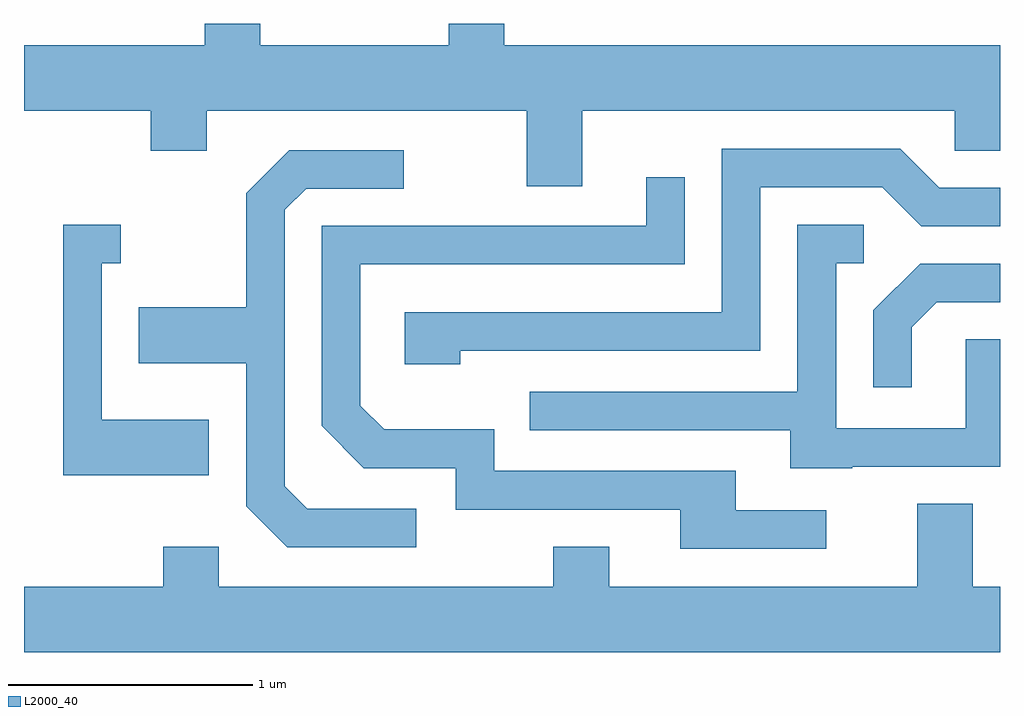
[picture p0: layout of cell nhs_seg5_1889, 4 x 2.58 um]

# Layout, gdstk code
import gdstk
lib = gdstk.Library(unit=1e-6, precision=1e-09)
def P(c, l, *ps):  # polygons
    for p in ps: c.add(gdstk.Polygon(p, *l))
L2000_40 = (2000, 40)

nhs_seg5_1889 = lib.new_cell('nhs_seg5_1889')
P(nhs_seg5_1889, L2000_40, [(243.899,1425.716),(245.426,1425.716),(245.426,1425.551),(245.611,1425.551),(245.611,1425.984),(243.579,1425.984),(243.579,1426.072),(243.351,1426.072),(243.351,1425.984),(242.579,1425.984),(242.579,1426.072),(242.351,1426.072),(242.351,1425.984),(241.611,1425.984),(241.611,1425.716),(242.131,1425.716),(242.131,1425.551),(242.359,1425.551),(242.359,1425.716),(243.671,1425.716),(243.671,1425.406),(243.899,1425.406)],
  [(243.399,1424.731),(244.629,1424.731),(244.629,1425.401),(245.129,1425.401),(245.289,1425.241),(245.611,1425.241),(245.611,1425.399),(245.362,1425.399),(245.202,1425.559),(244.471,1425.559),(244.471,1424.889),(243.171,1424.889),(243.171,1424.676),(243.399,1424.676)],
  [(243.218,1424.084),(242.772,1424.084),(242.679,1424.177),(242.679,1425.309),(242.767,1425.396),(243.168,1425.396),(243.168,1425.554),(242.699,1425.554),(242.521,1425.377),(242.521,1424.909),(242.081,1424.909),(242.081,1424.681),(242.521,1424.681),(242.521,1424.094),(242.689,1423.926),(243.218,1423.926)],
  [(244.898,1424.079),(244.529,1424.079),(244.529,1424.239),(243.539,1424.239),(243.539,1424.409),(243.087,1424.409),(242.989,1424.507),(242.989,1425.086),(244.319,1425.086),(244.319,1425.443),(244.161,1425.443),(244.161,1425.244),(242.831,1425.244),(242.831,1424.424),(243.004,1424.251),(243.381,1424.251),(243.381,1424.081),(244.301,1424.081),(244.301,1423.921),(244.898,1423.921)],
  [(242.369,1424.449),(241.929,1424.449),(241.929,1425.091),(242.008,1425.091),(242.008,1425.249),(241.771,1425.249),(241.771,1424.221),(242.369,1424.221)],
  [(245.005,1424.256),(245.611,1424.256),(245.611,1424.779),(245.471,1424.779),(245.471,1424.414),(244.939,1424.414),(244.939,1425.091),(245.053,1425.091),(245.053,1425.249),(244.781,1425.249),(244.781,1424.564),(243.683,1424.564),(243.683,1424.406),(244.751,1424.406),(244.751,1424.251),(245.005,1424.251)],
  [(245.249,1424.829),(245.352,1424.931),(245.611,1424.931),(245.611,1425.089),(245.284,1425.089),(245.091,1424.897),(245.091,1424.583),(245.249,1424.583)],
  [(245.611,1423.764),(245.499,1423.764),(245.499,1424.104),(245.271,1424.104),(245.271,1423.764),(244.009,1423.764),(244.009,1423.929),(243.781,1423.929),(243.781,1423.764),(242.409,1423.764),(242.409,1423.929),(242.181,1423.929),(242.181,1423.764),(241.611,1423.764),(241.611,1423.496),(245.611,1423.496)])

lib.write_gds('nhs_seg5_1889.gds')
